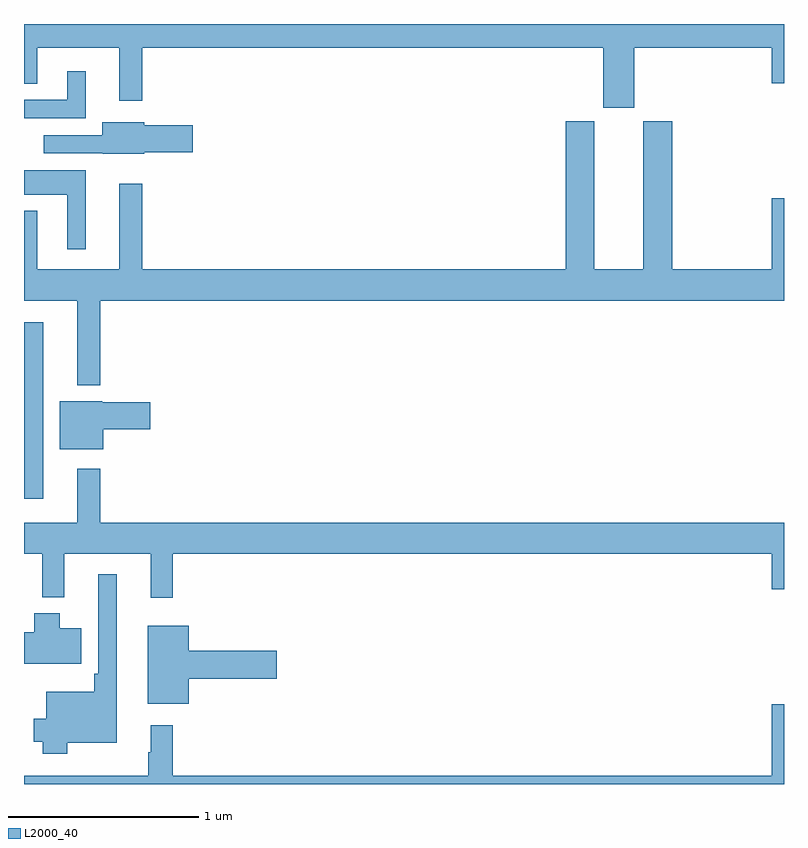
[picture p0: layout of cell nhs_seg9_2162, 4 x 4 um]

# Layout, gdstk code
import gdstk
lib = gdstk.Library(unit=1e-6, precision=1e-09)
def R(c, l, rs):  # rectangles x0, y0, x1, y1
    for r in rs: c.add(gdstk.rectangle(r[:2], r[2:], *l))
def P(c, l, *ps):  # polygons
    for p in ps: c.add(gdstk.Polygon(p, *l))
L2000_40 = (2000, 40)

nhs_seg9_2162 = lib.new_cell('nhs_seg9_2162')
R(nhs_seg9_2162, L2000_40, [(233,1238.001,233.101,1238.929)])
P(nhs_seg9_2162, L2000_40, [(236.212,1240.376),(236.936,1240.376),(236.936,1240.188),(237,1240.188),(237,1240.5),(233,1240.5),(233,1240.186),(233.071,1240.186),(233.071,1240.376),(233.501,1240.376),(233.501,1240.095),(233.623,1240.095),(233.623,1240.376),(236.048,1240.376),(236.048,1240.059),(236.212,1240.059)],
  [(233.326,1240.252),(233.228,1240.252),(233.228,1240.101),(233,1240.101),(233,1240.005),(233.326,1240.005)],
  [(233.401,1239.044),(237,1239.044),(237,1239.583),(236.936,1239.583),(236.936,1239.208),(236.411,1239.208),(236.411,1239.987),(236.258,1239.987),(236.258,1239.208),(236.002,1239.208),(236.002,1239.987),(235.85,1239.987),(235.85,1239.208),(233.623,1239.208),(233.623,1239.658),(233.501,1239.658),(233.501,1239.208),(233.071,1239.208),(233.071,1239.517),(233,1239.517),(233,1239.044),(233.279,1239.044),(233.279,1238.6),(233.401,1238.6)],
  [(233.634,1239.824),(233.887,1239.824),(233.887,1239.966),(233.634,1239.966),(233.634,1239.982),(233.411,1239.982),(233.411,1239.915),(233.103,1239.915),(233.103,1239.819),(233.415,1239.819),(233.415,1239.818),(233.634,1239.818)],
  [(233.326,1239.73),(233,1239.73),(233,1239.602),(233.228,1239.602),(233.228,1239.315),(233.326,1239.315)],
  [(233.416,1238.368),(233.665,1238.368),(233.665,1238.51),(233.412,1238.51),(233.412,1238.515),(233.189,1238.515),(233.189,1238.261),(233.416,1238.261)],
  [(233.783,1237.712),(236.936,1237.712),(236.936,1237.524),(237,1237.524),(237,1237.876),(233.401,1237.876),(233.401,1238.158),(233.279,1238.158),(233.279,1237.876),(233,1237.876),(233,1237.712),(233.095,1237.712),(233.095,1237.484),(233.213,1237.484),(233.213,1237.712),(233.666,1237.712),(233.666,1237.479),(233.783,1237.479)],
  [(233.227,1236.716),(233.488,1236.716),(233.488,1237.603),(233.391,1237.603),(233.391,1237.081),(233.371,1237.081),(233.371,1236.985),(233.117,1236.985),(233.117,1236.844),(233.051,1236.844),(233.051,1236.722),(233.098,1236.722),(233.098,1236.659),(233.227,1236.659)],
  [(233.302,1237.321),(233.188,1237.321),(233.188,1237.399),(233.054,1237.399),(233.054,1237.299),(233,1237.299),(233,1237.133),(233.302,1237.133)],
  [(233.866,1237.055),(234.331,1237.055),(234.331,1237.202),(233.866,1237.202),(233.866,1237.333),(233.651,1237.333),(233.651,1236.923),(233.866,1236.923)],
  [(237,1236.919),(236.936,1236.919),(236.936,1236.544),(233.783,1236.544),(233.783,1236.808),(233.666,1236.808),(233.666,1236.668),(233.655,1236.668),(233.655,1236.544),(233,1236.544),(233,1236.5),(237,1236.5)])

lib.write_gds('nhs_seg9_2162.gds')
